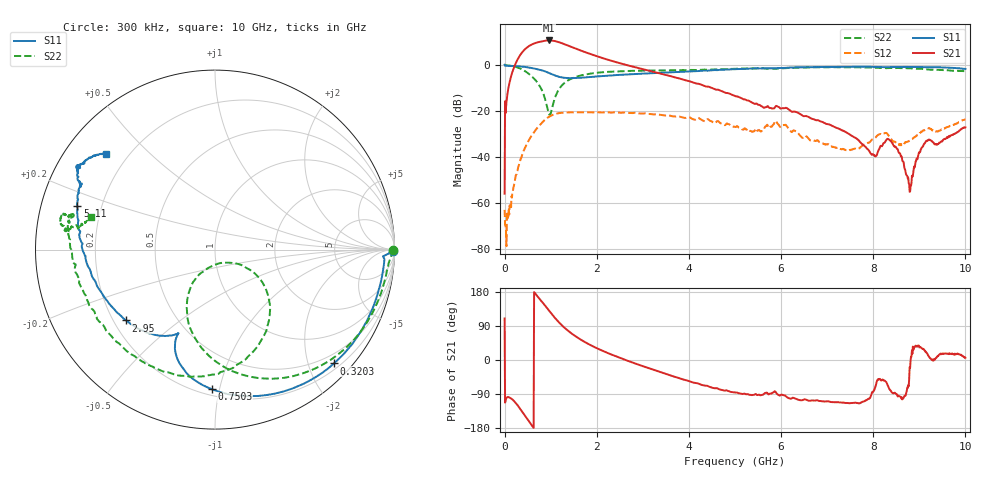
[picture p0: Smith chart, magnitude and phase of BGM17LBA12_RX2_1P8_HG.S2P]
!Agilent Technologies,E5071C,MY46316587,B.13.01
!Date: Fri Dec 08 10:55:03 2017
!Data & Calibration Information:
!Freq	S11:SOLT2(ON)	S21:SOLT2(ON)	S12:SOLT2(ON)	S22:SOLT2(ON)
!PortZ  Port1:50+j0  Port2:50+j0
!Above PortZ is port z conversion or system Z0 setting when saving the data.
!When reading, reference impedance value at option line is always used.
# Hz S dB R 50
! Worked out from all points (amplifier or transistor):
!   1001 points, 300 kHz to 10 GHz, reference 50 ohm
!   highest |S21| = 10.5 dB at 970.3 MHz (marker M1)
!   |S21| within 3 dB of that: 488.7 MHz to 1.476 GHz (986.8 MHz wide, 100 % of centre)
!   unconditionally stable (mu >= 1): start of sweep to end of sweep
!   at 1.66 GHz: K = 1.40, MAG = 9.6 dB, |S12| = -20.7 dB
!   at 5 GHz: K = 6.94, MAG = -4.7 dB, |S12| = -27.0 dB
!   at 10 GHz: K = 30.28, MAG = -19.5 dB, |S12| = -23.8 dB
!   lowest NFmin = 1.07 dB at 750 MHz
!   S11 on the Smith chart (normalised r, x): 300 kHz: open; 320.3 MHz: 0.31, -2.46; 750.3 MHz: 0.24, -0.95; 2.95 GHz: 0.25, -0.33; 5.11 GHz: 0.11, +0.15; 10 GHz: 0.12, +0.37
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300000  -0.06 -0.5  -56.02 109.6  -63.02 128.5  -0.06 -0.1
6.02982e7  -0.51 -8.8  -12.97 -98.1  -66.83 105.1  -0.35 -11.3
3.202904e8  -0.75 -43.8  3.57 -125.6  -42.96 160.0  -1.55 -56.6
5.00285e8  -1.18 -65.9  7.64 -157.2  -33.72 143.6  -3.62 -85.1
7.502775e8  -2.19 -91.4  9.83 162.5  -26.53 117.8  -8.94 -116.2
9.702709e8  -3.67 -108.1  10.48 129.5  -22.55 91.3  -21.74 -84.8
1.120266e9  -4.90 -113.0  10.06 107.3  -21.33 73.3  -13.03 -30.0
1.32026e9  -5.76 -113.7  8.70 83.0  -20.81 54.7  -7.62 -43.4
1.67025e9  -5.67 -114.9  5.99 52.5  -20.65 34.4  -4.63 -65.8
2.220233e9  -4.81 -123.6  2.24 19.3  -20.76 14.7  -3.15 -90.0
2.950212e9  -3.97 -141.4  -1.74 -14.2  -21.22 -5.8  -2.64 -115.5
3.3402e9  -3.59 -152.6  -3.67 -30.4  -21.72 -16.0  -2.53 -129.4
5.00015e9  -1.96 164.3  -13.60 -85.7  -27.02 -41.3  -1.84 176.9
5.110147e9  -1.90 162.6  -14.30 -88.3  -27.50 -42.9  -1.74 174.6
5.900123e9  -1.59 154.2  -17.93 -87.9  -24.82 -41.7  -1.75 167.3
6.6701e9  -1.12 150.3  -23.49 -106.8  -32.91 -48.5  -1.17 166.9
7.450076e9  -0.93 149.0  -29.80 -113.4  -37.17 -11.5  -1.14 169.4
8.01006e9  -0.94 148.5  -39.20 -80.7  -32.15 20.0  -1.30 170.9
8.34005e9  -1.08 149.1  -32.47 -73.6  -30.97 -10.1  -1.50 172.6
8.800036e9  -1.03 148.4  -55.08 -20.6  -32.85 30.3  -1.64 172.5
9.150026e9  -1.13 146.8  -33.08 20.0  -27.97 28.3  -2.07 170.4
1e10  -1.87 138.8  -27.22 5.9  -23.80 15.6  -2.90 165.2
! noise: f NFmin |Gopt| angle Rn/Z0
6.5e+08  1.146  0.5536  67.36  0.325
7e+08  1.081  0.5285  72.44  0.2265
7.5e+08  1.067  0.5039  72.62  0.2198
8e+08  1.086  0.52  76.24  0.224
8.5e+08  1.092  0.5001  79.44  0.214
9e+08  1.105  0.497  81  0.2067
9.5e+08  1.128  0.4789  85.26  0.2101
1e+09  1.157  0.4489  89.81  0.1904
